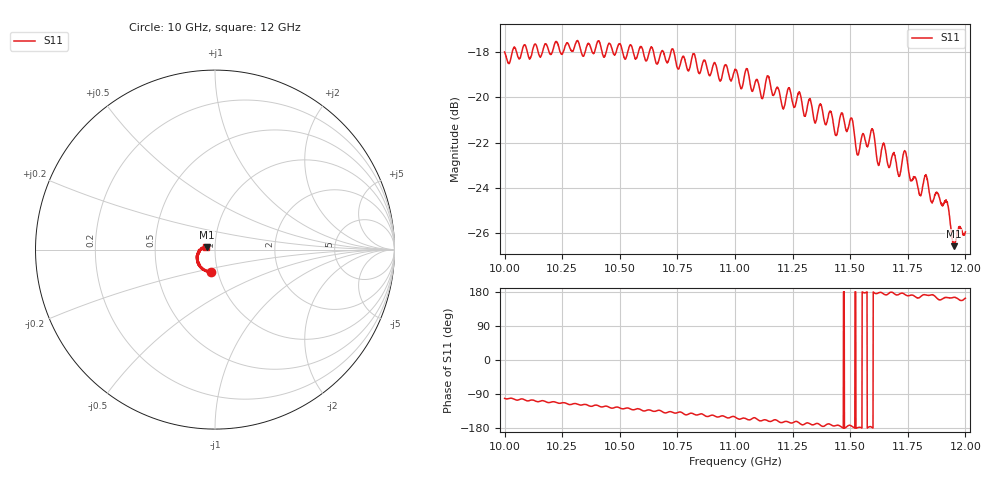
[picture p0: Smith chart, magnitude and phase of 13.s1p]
[Version] 2.0
! Rohde & Schwarz Vector Network Analyzer
! Rohde-Schwarz,ZNL20-2Port,1323001220200009,1.71.1.10-23.02.1.238
! Port Assignments:
! Nominal Port -> Actual Test Port
!  1 -> 1
! Created: GMT 2024-09-04 10:36:03
# Hz S DB R 50
[Number of Ports] 1
! freq[Hz]  S11[mag dB]  S11[ang]
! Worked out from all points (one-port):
!   2001 points, 10 GHz to 12 GHz, reference 50 ohm
!   lowest |S11| = -26.6 dB at 11.95 GHz (marker M1), VSWR 1.10, Z = 45.6 + j1.09 ohm
!   |S11| at or under -10 dB: start of sweep to end of sweep
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[Number of Frequencies] 28
[Network Data]
1e10  -18.00 -101.3
1.025e10  -18.08 -113.0
1.05e10  -17.63 -126.4
1.0661e10  -18.53 -133.8
1.0729e10  -17.87 -137.9
1.075e10  -18.71 -139.1
1.082e10  -18.08 -142.2
1.0845e10  -18.95 -143.1
1.1e10  -18.76 -150.3
1.1026e10  -19.62 -155.2
1.125e10  -20.23 -165.7
1.1415e10  -20.62 -170.5
1.1438e10  -21.67 -173.0
1.1462e10  -20.68 -177.0
1.15e10  -20.99 -172.2
1.1532e10  -22.54 -178.7
1.1595e10  -21.40 -177.9
1.1622e10  -22.98 176.7
1.1645e10  -22.01 174.1
1.1711e10  -23.48 172.9
1.1736e10  -22.35 173.5
1.175e10  -22.95 169.7
1.1802e10  -24.32 165.3
1.1828e10  -23.42 171.9
1.1853e10  -24.60 172.1
1.1918e10  -24.57 165.3
1.195e10  -26.56 165.4
1.2e10  -25.93 162.9
[End]
